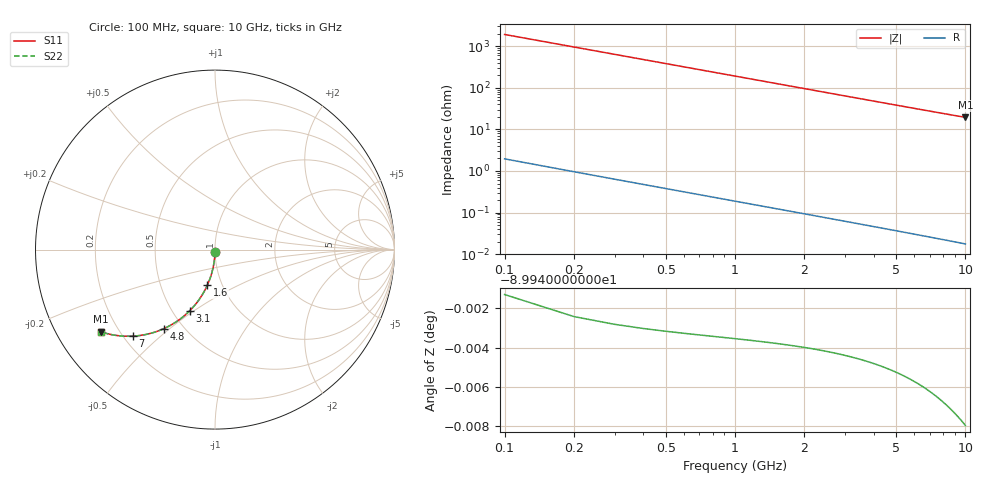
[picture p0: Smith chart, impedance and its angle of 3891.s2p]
# Hz S RI R 50.00
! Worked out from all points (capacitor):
!   100 points, 100 MHz to 10 GHz, reference 50 ohm
!   read as one part in shunt: C = 833 fF near 100 MHz
!   lowest |Z| = 19.4 ohm at 10 GHz (marker M1)
!   S11 on the Smith chart (normalised r, x): 100 MHz: 1.00, -0.03; 1.6 GHz: 0.85, -0.35; 3.1 GHz: 0.61, -0.48; 4.8 GHz: 0.39, -0.48; 7 GHz: 0.24, -0.41; 10 GHz: 0.13, -0.32
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1e8  -0.000125 -0.0129  0.9998 -0.0133  0.9998 -0.0133  -0.000125 -0.0129
2e8  -0.000651 -0.0257  0.9992 -0.0266  0.9992 -0.0266  -0.000651 -0.0257
3e8  -0.00152 -0.0386  0.9984 -0.0399  0.9984 -0.0399  -0.00152 -0.0386
4e8  -0.00273 -0.0513  0.9972 -0.0531  0.9972 -0.0531  -0.00273 -0.0513
5e8  -0.00427 -0.0641  0.9956 -0.0663  0.9956 -0.0663  -0.00427 -0.0641
6e8  -0.00615 -0.0768  0.9937 -0.0794  0.9937 -0.0794  -0.00615 -0.0768
7e8  -0.00836 -0.0893  0.9915 -0.0924  0.9915 -0.0924  -0.00836 -0.0893
9e8  -0.0137 -0.1142  0.9861 -0.1182  0.9861 -0.1182  -0.0137 -0.1142
1.2e9  -0.0242 -0.1507  0.9757 -0.1559  0.9757 -0.1559  -0.0242 -0.1507
1.6e9  -0.0422 -0.1972  0.9577 -0.2042  0.9577 -0.2042  -0.0422 -0.1972
1.8e9  -0.0528 -0.2193  0.9471 -0.2272  0.9471 -0.2272  -0.0528 -0.2193
2.4e9  -0.0902 -0.2808  0.9097 -0.2913  0.9097 -0.2913  -0.0902 -0.2808
3.1e9  -0.1419 -0.3418  0.8578 -0.3554  0.8578 -0.3554  -0.1419 -0.3418
3.4e9  -0.166 -0.3642  0.8337 -0.3792  0.8337 -0.3792  -0.166 -0.3642
4.1e9  -0.2247 -0.4079  0.7751 -0.426  0.7751 -0.426  -0.2247 -0.4079
4.8e9  -0.2845 -0.4401  0.7152 -0.4614  0.7152 -0.4614  -0.2845 -0.4401
5.1e9  -0.3099 -0.4507  0.6897 -0.4733  0.6897 -0.4733  -0.3099 -0.4507
5.9e9  -0.3758 -0.4708  0.6237 -0.497  0.6237 -0.497  -0.3758 -0.4708
6.7e9  -0.4375 -0.4807  0.5619 -0.5105  0.5619 -0.5105  -0.4375 -0.4807
7e9  -0.4594 -0.4822  0.54 -0.5135  0.54 -0.5135  -0.4594 -0.4822
8.4e9  -0.5513 -0.478  0.4479 -0.5157  0.4479 -0.5157  -0.5513 -0.478
1e10  -0.6363 -0.4578  0.3625 -0.503  0.3625 -0.503  -0.6363 -0.4578
